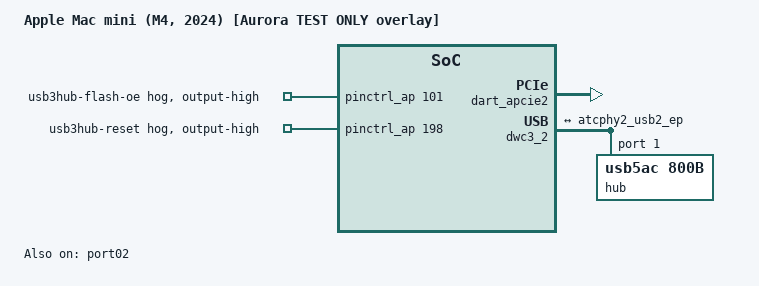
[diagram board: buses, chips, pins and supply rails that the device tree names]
// SPDX-License-Identifier: GPL-2.0+ OR MIT
/*
 * TEST ONLY / LOCAL ONLY: Apple Mac mini (M4, 2024, J773g) Aurora bring-up
 * overlay on the upstream t8132-j773g.dts (aurora-silicon integration/aurora
 * 0ed974fb3a4f, #1142 J773g DT).  Never for upstream; never in the Makefile.
 *
 * "H7 ladder step 1": boot the upstream J773g tree with the safety overrides
 * of our tested U1 flat tree (u1-front-usb2-v65-hubfix-20261107):
 *
 *  1. Recovery-port rule: the three rear USB-C ports (ATC0, ATC1, ATC3), their
 *     DWC3 controllers, DARTs and port controllers (hpm0/1/3) stay disabled,
 *     so a DFU/recovery cable on a rear port is never touched by Linux.
 *  2. ps_pmc always-on (the PMP firmware touches the PMC block once it runs;
 *     see the lead's "Keep the PMC power state on" patch).
 *  3. Ethernet: PCIe port 2 (AQC113, ADT pci-bridge2/lan-1gb) and its DART.
 *  4. Front USB2 in the tested U1 shape: fixed on-board hub (05ac:800b) on
 *     dwc3_2, the atcphy2 <-> dwc3_2 of_graph link that lets the PHY power
 *     USB2 at probe, and the two hub GPIO hogs.  Upstream dr_mode and
 *     maximum-speed are kept.
 *  5. G16 GPU (t8132-gpu.dtsi) and DCP (t8132-dcp.dtsi) stay as upstream
 *     ships them: disabled.
 *
 * Copyright The Asahi Linux Contributors
 */

#include "t8132-j773g.dts"

/ {
	model = "Apple Mac mini (M4, 2024) [Aurora TEST ONLY overlay]";
};

/*
 * 1. Recovery-port rule.  ATC0/ATC1 (t8132-jxxx.dtsi: &atcphy0/&atcphy1,
 * &dwc3_0/&dwc3_1 and their DARTs, hpm0/hpm1 on nub_spmi_a0) and ATC3
 * (t8132-atc23.dtsi / t8132-j773g.dts: &atcphy3, &dwc3_3, hpm3).  The
 * typecN connectors are children of hpmN and go with them.
 */
&hpm0 {
	status = "disabled";
};

&hpm1 {
	status = "disabled";
};

&hpm3 {
	status = "disabled";
};

&atcphy0 {
	status = "disabled";
};

&atcphy1 {
	status = "disabled";
};

&atcphy3 {
	status = "disabled";
};

&dwc3_0_dart_0 {
	status = "disabled";
};

&dwc3_0_dart_1 {
	status = "disabled";
};

&dwc3_0 {
	status = "disabled";
};

&dwc3_1_dart_0 {
	status = "disabled";
};

&dwc3_1_dart_1 {
	status = "disabled";
};

&dwc3_1 {
	status = "disabled";
};

&dwc3_3_dart_0 {
	status = "disabled";
};

&dwc3_3_dart_1 {
	status = "disabled";
};

&dwc3_3 {
	status = "disabled";
};

/*
 * 2. The PMP firmware accesses the PMC block (0x382800000) once it runs;
 * ps_pmc is on at handoff and has no Linux consumer.  Keep it on.
 */
&ps_pmc {
	apple,always-on;
};

/*
 * 3. Ethernet.  t8132-apcie-port2.dtsi adds dart_apcie2 and port02 disabled
 * ("the managed radio contract admits port 0 only"); t8132-desktop.dtsi puts
 * ethernet0 under port02.  Enable both and route bus 2 (RID 0x200) to SID 1
 * of dart_apcie2, as the tested U1 tree does.  Upstream's managed radio
 * contract on pcie0/dart_apcie0 (apple,managed-sids = <1 2>) is kept: U1 ran
 * without it (plain t602x path, iommu-map-mask 0xff00) and that is the
 * fallback if port 2 is refused under the contract (see README).
 */
&dart_apcie2 {
	status = "okay";
};

&pcie0 {
	iommu-map = <0x100 &dart_apcie0 1 2>,
		    <0x200 &dart_apcie2 1 1>;
	iommu-map-mask = <0xffff>;
};

&port02 {
	status = "okay";
};

/*
 * 4. Front USB2 (ATC2, usb-drd2): the on-board hub (ADT usb-drd2-port-hs
 * usb-port-number 1; 05ac:800b as enumerated on U1) is fixed, so dwc3 brings
 * the host up at probe (dwc3-apple.c dwc3_apple_has_fixed_hub) and the PHY
 * powers USB2 at probe when its port@1 endpoint leads to a controller with a
 * "hub" child (atc.c atcphy_usb2_behind_fixed_hub).  Port numbering as the
 * t8140-j700.dts fixed-hub precedent: dwc3 port@2 is the raw xHCI port.
 */
&atcphy2 {
	ports {
		#address-cells = <1>;
		#size-cells = <0>;

		port@1 {
			reg = <1>;
			atcphy2_usb2_ep: endpoint {
				remote-endpoint = <&dwc3_2_usb2_ep>;
			};
		};
	};
};

&dwc3_2 {
	#address-cells = <1>;
	#size-cells = <0>;

	hub@1 {
		compatible = "usb5ac,800b";
		reg = <1>;
	};

	ports {
		#address-cells = <1>;
		#size-cells = <0>;

		port@2 {
			reg = <2>;
			dwc3_2_usb2_ep: endpoint {
				remote-endpoint = <&atcphy2_usb2_ep>;
			};
		};
	};
};

/* Hub GPIOs (ADT usb3hub_flash_oe GPIO 0x65, usb3hub_rst GPIO 0xc6). */
&pinctrl_ap {
	usb3hub-flash-oe-hog {
		gpio-hog;
		gpios = <101 GPIO_ACTIVE_HIGH>;
		output-high;
		line-name = "usb3hub-flash-oe";
	};

	usb3hub-reset-hog {
		gpio-hog;
		gpios = <198 GPIO_ACTIVE_HIGH>;
		output-high;
		line-name = "usb3hub-reset";
	};
};

/*
 * Not done here (upstream shape kept, flagged in the README): the atcphy2
 * alias from t8132-atc23.dtsi stays, so m1n1 may inject USB3 tunables into
 * atcphy2 (the U1 tree deliberately had no such alias).  To match U1:
 *
 * / { aliases { /delete-property/ atcphy2; }; };
 */

/* 5. GPU (t8132-gpu.dtsi) and DCP (t8132-dcp.dtsi): untouched, disabled. */
